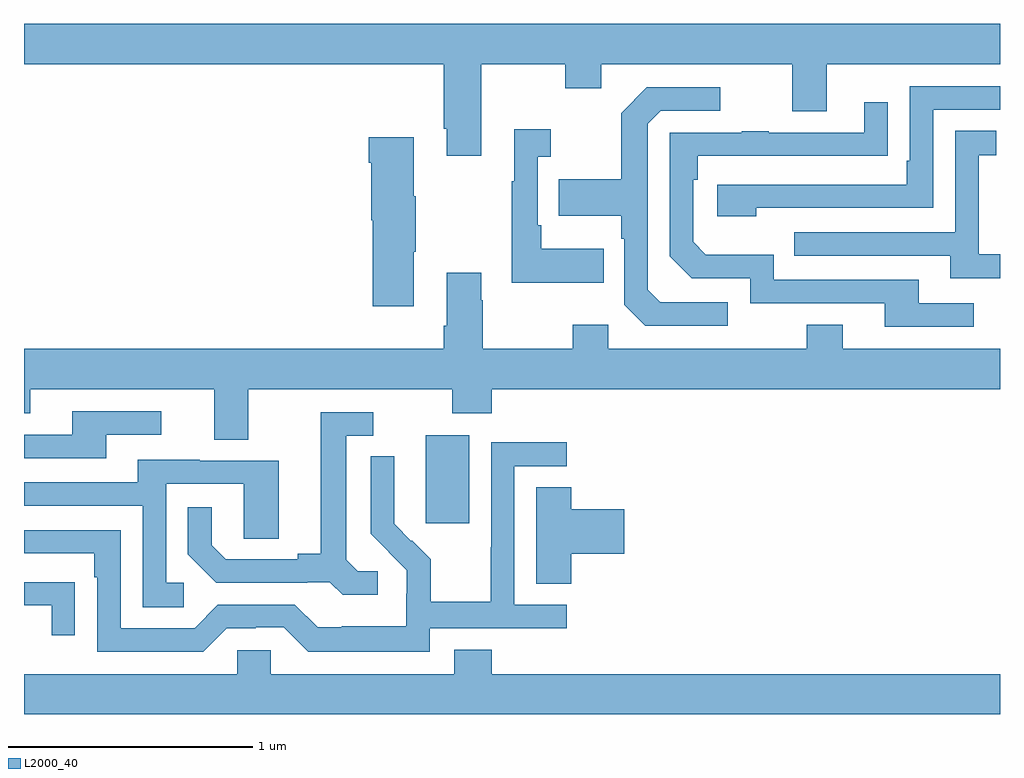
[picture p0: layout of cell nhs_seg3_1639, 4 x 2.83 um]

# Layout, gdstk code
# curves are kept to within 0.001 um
import gdstk
lib = gdstk.Library(unit=1e-6, precision=1e-09)
def R(c, l, rs):  # rectangles x0, y0, x1, y1
    for r in rs: c.add(gdstk.rectangle(r[:2], r[2:], *l))
def P(c, l, *ps):  # polygons
    for p in ps: c.add(gdstk.Polygon(p, *l))
L2000_40 = (2000, 40)

nhs_seg3_1639 = lib.new_cell('nhs_seg3_1639')
R(nhs_seg3_1639, L2000_40, [(196.646,725.673,196.825,726.034)])
P(nhs_seg3_1639, L2000_40, [(196.873,727.556),(197.218,727.556),(197.218,727.457),(197.365,727.457),(197.365,727.556),(198.149,727.556),(198.149,727.362),(198.289,727.362),(198.289,727.556),(199,727.556),(199,727.72),(195,727.72),(195,727.556),(196.721,727.556),(196.721,727.291),(196.733,727.291),(196.733,727.179),(196.873,727.179)],
  [(198.002,726.966),(198.726,726.966),(198.726,727.368),(199,727.368),(199,727.464),(198.63,727.464),(198.63,727.159),(198.617,727.159),(198.617,727.062),(197.841,727.062),(197.841,726.932),(198.002,726.932)],
  [(197.884,726.579),(197.607,726.579),(197.556,726.63),(197.556,727.311),(197.61,727.365),(197.854,727.365),(197.854,727.461),(197.553,727.461),(197.448,727.355),(197.448,727.083),(197.191,727.083),(197.191,726.935),(197.448,726.935),(197.448,726.839),(197.46,726.839),(197.46,726.57),(197.547,726.483),(197.884,726.483)],
  [(198.892,726.576),(198.667,726.576),(198.667,726.672),(198.072,726.672),(198.072,726.775),(197.795,726.775),(197.742,726.828),(197.742,727.082),(197.762,727.082),(197.762,727.179),(198.539,727.18),(198.539,727.399),(198.443,727.399),(198.443,727.275),(198.053,727.275),(198.053,727.28),(197.941,727.28),(197.941,727.275),(197.646,727.275),(197.646,726.768),(197.736,726.678),(197.976,726.678),(197.976,726.576),(198.527,726.576),(198.527,726.48),(198.892,726.48)],
  [(197.375,726.799),(197.119,726.799),(197.119,726.895),(197.106,726.895),(197.106,727.175),(197.158,727.175),(197.158,727.288),(197.009,727.288),(197.009,727.075),(196.998,727.075),(196.998,726.659),(197.375,726.659)],
  [(199,726.777),(198.912,726.777),(198.912,727.182),(198.985,727.182),(198.985,727.283),(198.816,727.283),(198.816,726.867),(198.157,726.867),(198.157,726.771),(198.797,726.771),(198.797,726.677),(199,726.677)],
  [(196.597,726.787),(196.605,726.787),(196.605,727.015),(196.597,727.015),(196.597,727.255),(196.412,727.255),(196.412,727.151),(196.424,727.151),(196.424,726.915),(196.43,726.915),(196.43,726.564),(196.597,726.564)],
  [(195.919,726.224),(196.756,726.224),(196.756,726.125),(196.916,726.125),(196.916,726.224),(199,726.224),(199,726.388),(198.355,726.388),(198.355,726.487),(198.208,726.487),(198.208,726.388),(197.394,726.388),(197.394,726.487),(197.248,726.487),(197.248,726.388),(196.881,726.388),(196.881,726.587),(196.873,726.587),(196.873,726.7),(196.733,726.7),(196.733,726.484),(196.721,726.484),(196.721,726.388),(195,726.388),(195,726.125),(195.025,726.125),(195.025,726.224),(195.779,726.224),(195.779,726.016),(195.919,726.016)],
  [(195.337,726.036),(195.562,726.036),(195.562,726.132),(195.197,726.132),(195.197,726.036),(195,726.036),(195,725.94),(195.337,725.94)],
  [(196.45,725.478),(196.368,725.478),(196.321,725.525),(196.321,726.033),(196.432,726.033),(196.432,726.129),(196.217,726.129),(196.217,725.549),(196.121,725.549),(196.121,725.526),(195.826,725.526),(195.769,725.583),(195.769,725.74),(195.672,725.74),(195.672,725.546),(195.788,725.43),(196.16,725.43),(196.16,725.433),(196.254,725.433),(196.306,725.381),(196.45,725.381)],
  [(196.662,725.244),(197.224,725.244),(197.224,725.34),(197.01,725.34),(197.01,725.907),(197.224,725.907),(197.224,726.006),(196.914,726.006),(196.914,725.576),(196.912,725.576),(196.912,725.353),(196.667,725.353),(196.667,725.527),(196.59,725.604),(196.587,725.601),(196.517,725.672),(196.518,725.948),(196.422,725.948),(196.422,725.63),(196.568,725.482),(196.568,725.385),(196.566,725.385),(196.566,725.251),(196.303,725.251),(196.303,725.247),(196.203,725.247),(196.11,725.34),(195.795,725.34),(195.699,725.244),(195.396,725.244),(195.396,725.646),(195,725.646),(195,725.55),(195.287,725.55),(195.287,725.453),(195.3,725.453),(195.3,725.148),(195.735,725.148),(195.831,725.244),(195.95,725.244),(195.95,725.247),(196.065,725.247),(196.165,725.147),(196.662,725.147)],
  [(195.655,725.43),(195.582,725.43),(195.582,725.835),(195.9,725.835),(195.9,725.611),(196.045,725.611),(196.045,725.931),(195.721,725.931),(195.721,725.935),(195.467,725.935),(195.467,725.841),(195,725.841),(195,725.745),(195.486,725.745),(195.486,725.329),(195.655,725.329)],
  [(197.243,725.549),(197.461,725.549),(197.461,725.732),(197.243,725.732),(197.243,725.822),(197.099,725.822),(197.099,725.425),(197.243,725.425)],
  [(195.209,725.432),(195.107,725.432),(195.107,725.433),(195,725.433),(195,725.337),(195.113,725.337),(195.113,725.214),(195.209,725.214)],
  [(199,725.056),(196.916,725.056),(196.916,725.155),(196.763,725.155),(196.763,725.056),(196.011,725.056),(196.011,725.154),(195.873,725.154),(195.873,725.056),(195,725.056),(195,724.892),(199,724.892)])

lib.write_gds('nhs_seg3_1639.gds')
